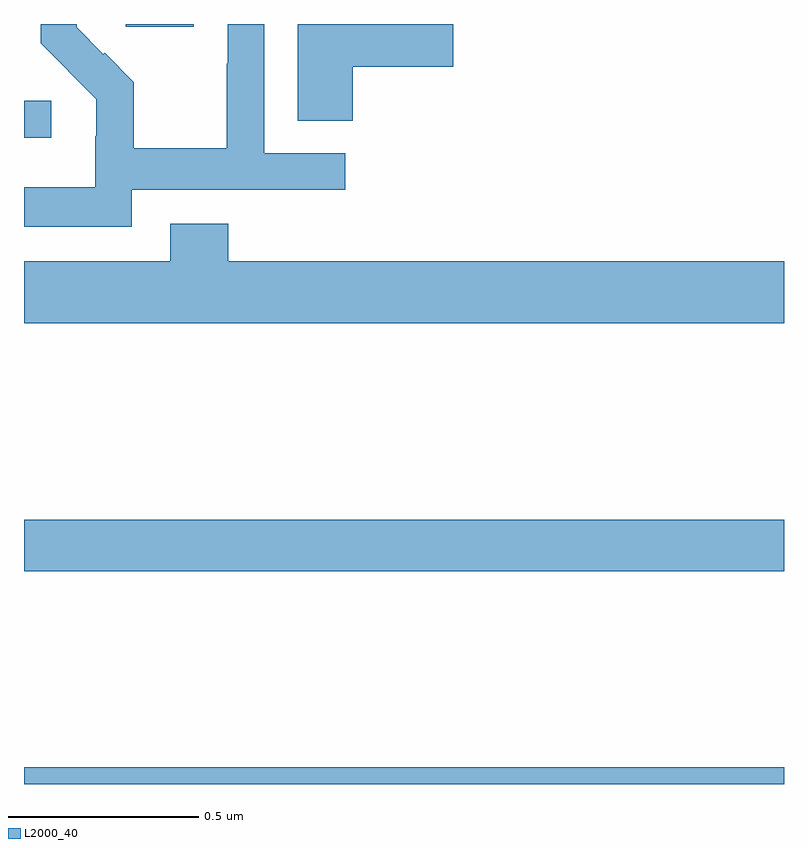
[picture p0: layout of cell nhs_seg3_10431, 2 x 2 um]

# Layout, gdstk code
import gdstk
lib = gdstk.Library(unit=1e-6, precision=1e-09)
def R(c, l, rs):  # rectangles x0, y0, x1, y1
    for r in rs: c.add(gdstk.rectangle(r[:2], r[2:], *l))
def P(c, l, *ps):  # polygons
    for p in ps: c.add(gdstk.Polygon(p, *l))
L2000_40 = (2000, 40)

nhs_seg3_10431 = lib.new_cell('nhs_seg3_10431')
R(nhs_seg3_10431, L2000_40, [(241,670.4,243,670.444), (241,670.96,243,671.096), (241,672.101,241.072,672.198), (241.268,672.393,241.447,672.4)])
P(nhs_seg3_10431, L2000_40, [(241.284,671.964),(241.846,671.964),(241.846,672.06),(241.632,672.06),(241.632,672.4),(241.536,672.4),(241.536,672.296),(241.534,672.296),(241.534,672.073),(241.289,672.073),(241.289,672.247),(241.212,672.324),(241.209,672.321),(241.139,672.392),(241.139,672.4),(241.044,672.4),(241.044,672.35),(241.117,672.277),(241.116,672.276),(241.19,672.202),(241.19,672.105),(241.188,672.105),(241.188,671.971),(241,671.971),(241,671.867),(241.284,671.867)],
  [(241.865,672.287),(242.129,672.287),(242.129,672.4),(241.721,672.4),(241.721,672.145),(241.865,672.145)],
  [(243,671.776),(241.538,671.776),(241.538,671.875),(241.385,671.875),(241.385,671.776),(241,671.776),(241,671.612),(243,671.612)])

lib.write_gds('nhs_seg3_10431.gds')
